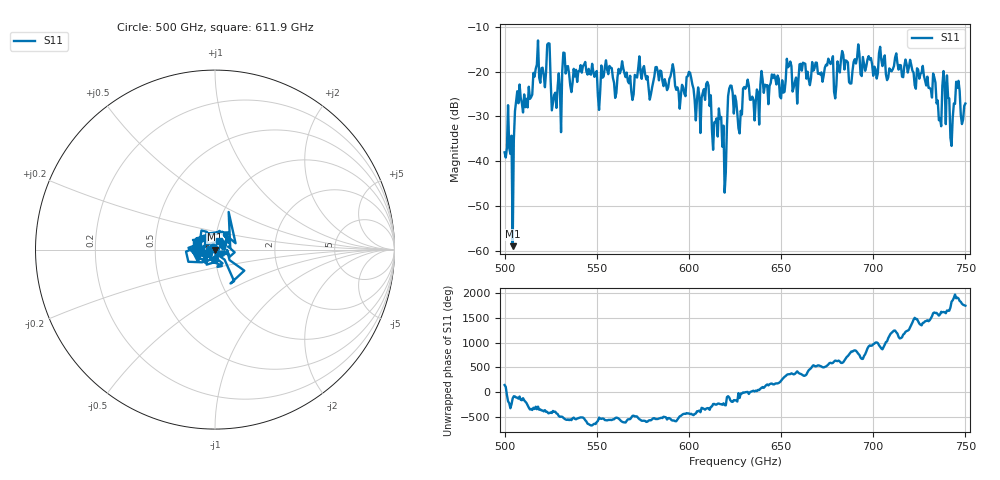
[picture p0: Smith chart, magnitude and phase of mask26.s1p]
!Created with skrf (http://scikit-rf.org).
# GHz S MA R 50.0
!freq magS11 angS11
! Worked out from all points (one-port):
!   401 points, 500 GHz to 750 GHz, reference 50 ohm
!   lowest |S11| = -59.0 dB at 504.4 GHz (marker M1), VSWR 1.00, Z = 49.9 - j0.0926 ohm
!   |S11| at or under -10 dB: start of sweep to end of sweep
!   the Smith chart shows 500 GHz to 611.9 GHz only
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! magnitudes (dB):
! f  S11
! 500 GHz  -38.0
! 504.4 GHz  -59.0
! 506.9 GHz  -24.4
! 513.8 GHz  -26.1
! 516.9 GHz  -19.4
! 523.8 GHz  -13.7
! 526.9 GHz  -25.2
! 531.2 GHz  -20.0
! 562.5 GHz  -20.4
! 593.8 GHz  -23.5
! 610.6 GHz  -23.1
! 619.4 GHz  -47.0
! 622.5 GHz  -23.1
! 625 GHz  -25.4
! 627.5 GHz  -33.8
! 630.6 GHz  -23.8
! 636.9 GHz  -24.0
! 640 GHz  -21.8
! 656.2 GHz  -24.4
! 687.5 GHz  -22.7
! 691.2 GHz  -16.8
! 718.8 GHz  -20.2
! 733.8 GHz  -22.4
! 735.6 GHz  -30.9
! 738.8 GHz  -23.1
! 743.1 GHz  -30.3
! 745.6 GHz  -23.6
! 750 GHz  -27.1
